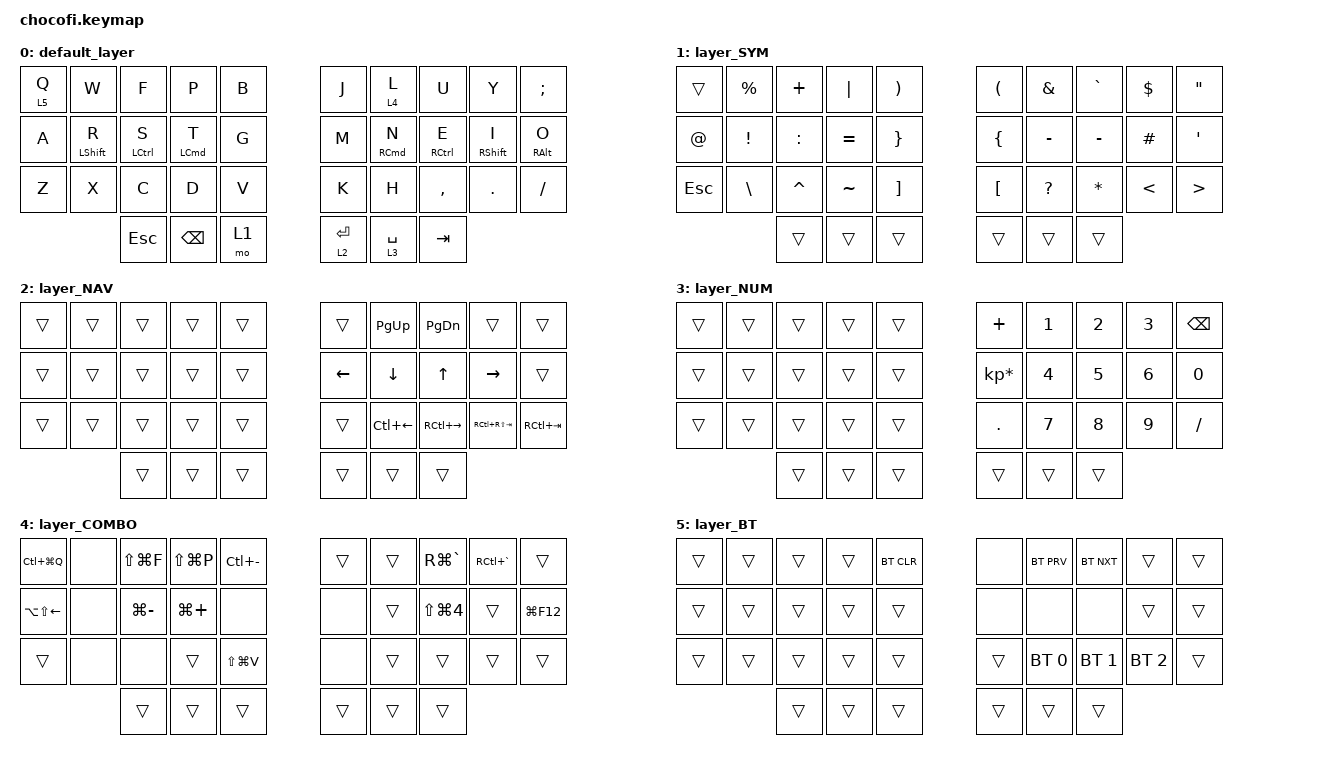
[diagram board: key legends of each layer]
#include <behaviors.dtsi>
#include <dt-bindings/zmk/bt.h>
#include <dt-bindings/zmk/keys.h>

/ {
    behaviors {
        &mt { tapping-term-ms = <150>; };

        &lt { tapping-term-ms = <150>; };
    };

    keymap {
        compatible = "zmk,keymap";

        default_layer {
            bindings = <
&lt 5 Q     &kp W          &kp F        &kp P        &kp B        &kp J    &lt 4 L     &kp U        &kp Y        &kp SEMICOLON
&kp A       &mt LSHFT R    &mt LCTRL S  &mt LCMD T   &kp G        &kp M    &mt RCMD N  &mt RCTRL E  &mt RSHFT I  &mt RALT O
&kp Z       &kp X          &kp C        &kp D        &kp V        &kp K    &kp H       &kp COMMA    &kp DOT      &kp SLASH
&kp ESCAPE  &kp BACKSPACE  &mo 1        &lt 2 ENTER  &lt 3 SPACE  &kp TAB
            >;
        };

        layer_SYM {
            bindings = <
&trans   &kp PERCENT  &kp PLUS   &kp PIPE   &kp RPAR  &kp LPAR  &kp AMPS   &kp GRAVE  &kp DOLLAR  &kp DOUBLE_QUOTES
&kp AT   &kp EXCL     &kp COLON  &kp EQUAL  &kp RBRC  &kp LBRC  &kp MINUS  &kp MINUS  &kp HASH    &kp SQT
&kp ESC  &kp BSLH     &kp CARET  &kp TILDE  &kp RBKT  &kp LBKT  &kp QMARK  &kp ASTRK  &kp LT      &kp GT
&trans   &trans       &trans     &trans     &trans    &trans
            >;
        };

        layer_NAV {
            bindings = <
&trans  &trans  &trans  &trans  &trans  &trans    &kp PAGE_UP   &kp PAGE_DOWN        &trans           &trans
&trans  &trans  &trans  &trans  &trans  &kp LEFT  &kp DOWN      &kp UP               &kp RIGHT        &trans
&trans  &trans  &trans  &trans  &trans  &trans    &kp LC(LEFT)  &kp RC(RIGHT_ARROW)  &kp RC(RS(TAB))  &kp RC(TAB)
&trans  &trans  &trans  &trans  &trans  &trans
            >;
        };

        layer_NUM {
            bindings = <
&trans  &trans  &trans  &trans  &trans  &kp PLUS         &kp N1  &kp N2  &kp N3  &kp BSPC
&trans  &trans  &trans  &trans  &trans  &kp KP_MULTIPLY  &kp N4  &kp N5  &kp N6  &kp N0
&trans  &trans  &trans  &trans  &trans  &kp DOT          &kp N7  &kp N8  &kp N9  &kp SLASH
&trans  &trans  &trans  &trans  &trans  &trans
            >;
        };

        layer_COMBO {
            bindings = <
&kp LC(LG(Q))     &none   &kp LS(LG(F))  &kp LS(LG(P))  &kp LC(MINUS)  &trans  &trans  &kp RG(GRAVE)         &kp RC(GRAVE)  &trans
&kp LA(LS(LEFT))  &none   &kp LG(MINUS)  &kp LG(PLUS)   &none          &none   &trans  &kp LS(LG(NUMBER_4))  &trans         &kp LG(F12)
&trans            &none   &none          &trans         &kp LS(LG(V))  &none   &trans  &trans                &trans         &trans
&trans            &trans  &trans         &trans         &trans         &trans
            >;
        };

        layer_BT {
            bindings = <
&trans  &trans  &trans  &trans  &bt BT_CLR  &none   &bt BT_PRV    &bt BT_NXT    &trans        &trans
&trans  &trans  &trans  &trans  &trans      &none   &none         &none         &trans        &trans
&trans  &trans  &trans  &trans  &trans      &trans  &bt BT_SEL 0  &bt BT_SEL 1  &bt BT_SEL 2  &trans
&trans  &trans  &trans  &trans  &trans      &trans
            >;
        };
    };

    combos { compatible = "zmk,combos"; };
};
